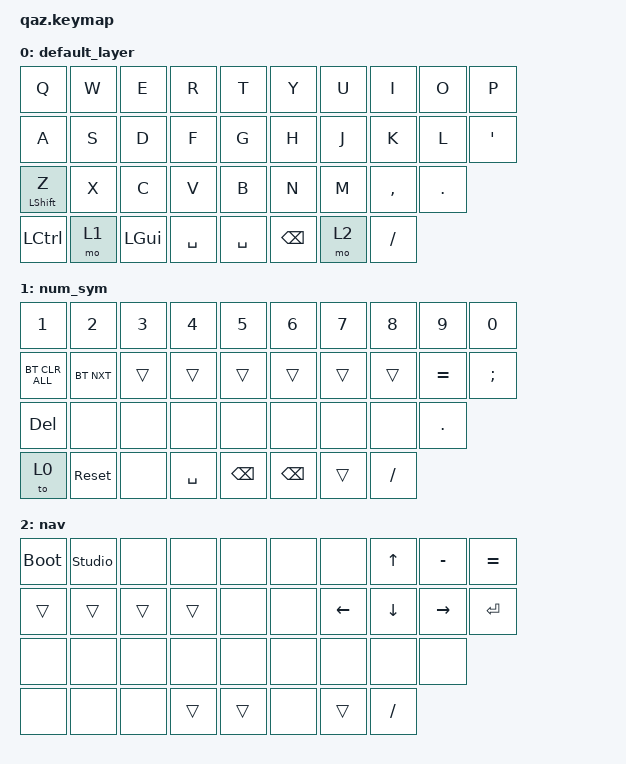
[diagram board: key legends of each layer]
/*
 * Copyright (c) 2020 The ZMK Contributors
 *
 * SPDX-License-Identifier: MIT
 */

#include <behaviors.dtsi>
#include <dt-bindings/zmk/bt.h>
#include <dt-bindings/zmk/keys.h>

#define DEFAULT 0
#define NUM_SYM 1
#define NAV     2

/ {
    behaviors {
        hm: homerow_mods {
            compatible = "zmk,behavior-hold-tap";
            #binding-cells = <2>;
            tapping-term-ms = <225>;
            flavor = "tap-preferred";
            bindings = <&kp>, <&kp>;
        };
    };
};

/ {
    keymap {
        compatible = "zmk,keymap";

        default_layer {
            bindings = <
&kp Q             &kp W  &kp E         &kp R      &kp T      &kp Y          &kp U  &kp I      &kp O    &kp P
&kp A             &kp S  &kp D         &kp F      &kp G      &kp H          &kp J  &kp K      &kp L    &kp SQT
&mt LSHIFT Z      &kp X  &kp C         &kp V      &kp B      &kp N          &kp M  &kp COMMA  &kp DOT
&kp LEFT_CONTROL  &mo 1  &kp LEFT_GUI  &kp SPACE  &kp SPACE  &kp BACKSPACE  &mo 2  &kp FSLH
            >;
        };

        num_sym {
            bindings = <
&kp N1          &kp N2      &kp N3  &kp N4     &kp N5         &kp N6         &kp N7  &kp N8    &kp N9     &kp N0
&bt BT_CLR_ALL  &bt BT_NXT  &trans  &trans     &trans         &trans         &trans  &trans    &kp EQUAL  &kp SEMICOLON
&kp DEL         &none       &none   &none      &none          &none          &none   &none     &kp DOT
&to 0           &sys_reset  &none   &kp SPACE  &kp BACKSPACE  &kp BACKSPACE  &trans  &kp FSLH
            >;
        };

        nav {
            bindings = <
&bootloader  &studio_unlock  &none   &none   &none   &none  &none     &kp UP    &kp MINUS  &kp EQUAL
&trans       &trans          &trans  &trans  &none   &none  &kp LEFT  &kp DOWN  &kp RIGHT  &kp ENTER
&none        &none           &none   &none   &none   &none  &none     &none     &none
&none        &none           &none   &trans  &trans  &none  &trans    &kp FSLH
            >;
        };
    };
};
